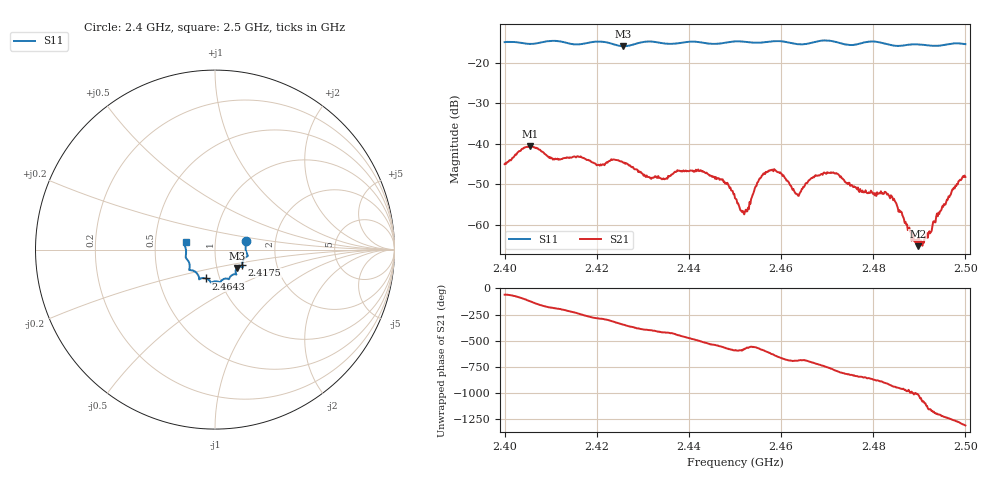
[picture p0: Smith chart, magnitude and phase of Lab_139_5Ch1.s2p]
# Hz S RI R 50
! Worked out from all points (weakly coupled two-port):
!   601 points, 2.4 GHz to 2.5 GHz, reference 50 ohm
!   highest |S21| = -40.57 dB at 2.4055 GHz (marker M1); lowest = -65.3 dB at 2.4897 GHz (marker M2)
!   lowest |S11| = -15.9 dB at 2.4257 GHz (marker M3), VSWR 1.38, Z = 62.5 - j13.1 ohm
!   |S11| at or under -10 dB: start of sweep to end of sweep
!   S12 and S22 are empty: the file has one direction only
!   S11 on the Smith chart (normalised r, x): 2.4 GHz: 1.41, +0.14; 2.4175 GHz: 1.34, -0.23; 2.4643 GHz: 0.86, -0.29; 2.5 GHz: 0.72, +0.06
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2.4e9  0.1727 0.0489  0.00288 -0.00481  0 0  0 0
2.4055e9  0.1705 0.00793  -0.00499 -0.00793  0 0  0 0
2.4105e9  0.183 -0.0342  -0.00634 0.000556  0 0  0 0
2.416667e9  0.1529 -0.074  -0.00246 0.00638  0 0  0 0
2.4175e9  0.1518 -0.0833  -0.0013 0.00639  0 0  0 0
2.425667e9  0.1228 -0.102  0.00566 0.00158  0 0  0 0
2.433333e9  0.1132 -0.1372  0.00239 -0.0032  0 0  0 0
2.4425e9  0.0724 -0.1633  -0.00386 -0.0027  0 0  0 0
2.447833e9  0.0358 -0.1727  -0.00292 0.0014  0 0  0 0
2.45e9  0.0291 -0.181  -0.00129 0.00169  0 0  0 0
2.4525e9  0.0202 -0.1793  -0.0013 0.000656  0 0  0 0
2.455333e9  -0.000909 -0.1767  -0.00302 0.00218  0 0  0 0
2.458167e9  -0.0196 -0.1828  -0.00022 0.00477  0 0  0 0
2.463333e9  -0.0391 -0.1654  0.00209 0.0012  0 0  0 0
2.464333e9  -0.0496 -0.161  0.00213 0.00148  0 0  0 0
2.466667e9  -0.0759 -0.1595  0.00369 0.000865  0 0  0 0
2.471667e9  -0.0879 -0.1593  0.00202 -0.0038  0 0  0 0
2.477333e9  -0.1295 -0.1155  -0.00141 -0.00218  0 0  0 0
2.483333e9  -0.141 -0.0901  -0.00222 0.000645  0 0  0 0
2.489667e9  -0.163 -0.0421  0.000193 0.000509  0 0  0 0
2.491e9  -0.1625 -0.0343  0.000599 -4.08e-05  0 0  0 0
2.5e9  -0.1641 0.043  -0.00255 0.00293  0 0  0 0
